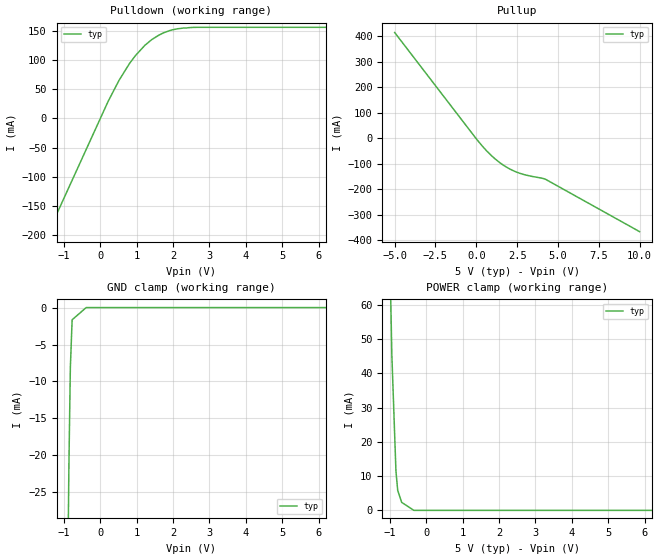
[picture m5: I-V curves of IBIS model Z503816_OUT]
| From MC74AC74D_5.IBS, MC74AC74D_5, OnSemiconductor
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| (C) COPYRIGHT 1993-2000
| MENTOR GRAPHICS CORPORATION
| ICX STANDARD LIBRARY, ICX PROJECT MODELING,
| ICX CUSTOM MODELING, ICX VENDOR MODEL
| ALL RIGHTS RESERVED.
| THE FOLLOWING ARE TRADEMARKS OR SERVICE MARKS OF
| MENTOR GRAPHICS CORPORATION:ICX (R), ICX STANDARD
| LIBRARY(R), ICX PROJECT MODELING(R), ICX CUSTOM
| MODELING(R), qualityIBIS(TM), MODELVIEWER(TM),
| AND MODELEDITOR(TM)
| ALL COPIES OF SOFTWARE, INCLUDING BUT NOT LIMITED TO
| ANY MODIFICATIONS, ENHANCEMENTS OR DERIVATIVE WORKS,
| MUST CONTAIN ALL MENTOR GRAPHICS CORPORATION'S
| NOTICES AND LEGENDS, INCLUDING THOSE EMBEDDED IN
| SOFTWARE AND THOSE AFFIXED TO SOFTWARE MEDIUM
| AND CONTAINER, AS RECEIVED FROM MENTOR GRAPHICS
| CORPORATION.
| Model Application Version 1.89 2/18/99.
[Model] Z503816_OUT
Model_type Output
Vref=0.000V
Rref=500.0ohms
Cref=50.00pF
Vmeas=2.500V
C_comp 8.000pF NA NA
| variable typ   min   max
[Voltage Range] 5.000V NA NA
[POWER Clamp Reference] 5.000V NA NA
[Pullup Reference] 5.000V NA NA
[Pulldown Reference] 0.000V NA NA
[GND Clamp Reference] 0.000V NA NA
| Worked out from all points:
|   slope of the pulldown table from 0 to 0.75 V, typ, clamps not added: 8.39 ohm
|   slope of the pullup table from 0 to 0.75 V, typ, clamps not added: 13.7 ohm
[GND Clamp]
-5V       -1.688A    NA         NA
-1.06V    -118.3mA   NA         NA
-859.4mV  -21.11mA   NA         NA
-820.3mV  -8.167mA   NA         NA
-771.5mV  -1.655mA   NA         NA
-385.7mV  0A         NA         NA
10V       0A         NA         NA
[Pulldown]
-5V       -685.7mA   NA         NA
215mV     28.95mA    NA         NA
517.6mV   65.48mA    NA         NA
801.8mV   94.05mA    NA         NA
967.4mV   107.9mA    NA         NA
1.227V    125.6mA    NA         NA
1.416V    135.4mA    NA         NA
1.744V    147.2mA    NA         NA
2.137V    154.1mA    NA         NA
2.554V    156.4mA    NA         NA
10V       156.5mA    NA         NA
[Pullup]
-5V       413.9mA    NA         NA
19mV      -3.695mA   NA         NA
626mV     -48.92mA   NA         NA
1.135V    -79.89mA   NA         NA
1.817V    -111.8mA   NA         NA
2.378V    -130.1mA   NA         NA
3.003V    -143.4mA   NA         NA
4.244V    -160.6mA   NA         NA
10V       -365.4mA   NA         NA
[POWER Clamp]
-5V       2.666A     NA         NA
-1.132V   148.3mA    NA         NA
-942mV    45.54mA    NA         NA
-829mV    11.49mA    NA         NA
-781mV    5.853mA    NA         NA
-672mV    2.332mA    NA         NA
-336mV    0A         NA         NA
10V       0A         NA         NA
[Ramp]
| variable typ min max
dV/dt_r 2.939/341.6p NA NA
dV/dt_f 2.939/358.2p NA NA
R_load = 500.0Ohms
